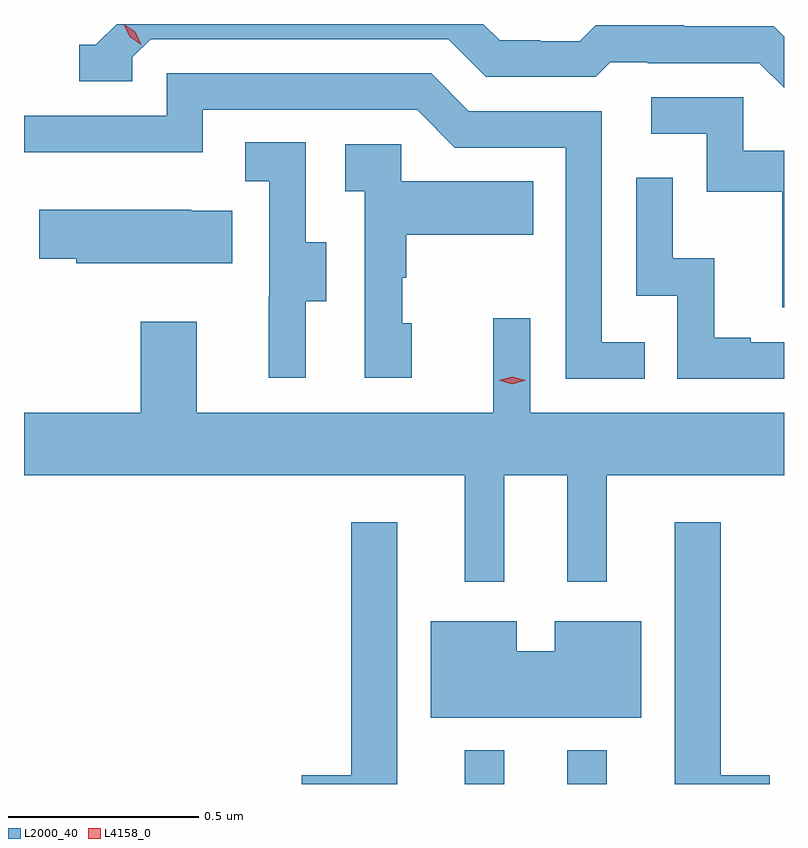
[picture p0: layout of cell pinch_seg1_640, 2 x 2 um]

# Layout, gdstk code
import gdstk
lib = gdstk.Library(unit=1e-6, precision=1e-09)
def R(c, l, rs):  # rectangles x0, y0, x1, y1
    for r in rs: c.add(gdstk.rectangle(r[:2], r[2:], *l))
def P(c, l, *ps):  # polygons
    for p in ps: c.add(gdstk.Polygon(p, *l))
L2000_40 = (2000, 40)
L4158_0 = (4158, 0)

pinch_seg1_640 = lib.new_cell('pinch_seg1_640')
R(pinch_seg1_640, L2000_40, [(1091.975,509.627,1092.079,509.716), (1092.245,509.627,1092.349,509.716)])
P(pinch_seg1_640, L2000_40, [(1092.815,511.594),(1092.788,511.621),(1092.552,511.621),(1092.552,511.624),(1092.319,511.624),(1092.277,511.581),(1092.174,511.581),(1092.174,511.584),(1092.067,511.584),(1092.024,511.627),(1091.059,511.627),(1091.004,511.572),(1090.961,511.572),(1090.961,511.476),(1091.1,511.476),(1091.1,511.539),(1091.148,511.587),(1091.931,511.587),(1092.03,511.488),(1092.319,511.488),(1092.358,511.527),(1092.457,511.527),(1092.457,511.524),(1092.75,511.524),(1092.815,511.459)],
  [(1092.449,510.789),(1092.336,510.789),(1092.336,511.398),(1091.986,511.398),(1091.887,511.497),(1091.19,511.497),(1091.19,511.386),(1090.815,511.386),(1090.815,511.289),(1091.286,511.289),(1091.286,511.401),(1091.85,511.401),(1091.949,511.302),(1092.24,511.302),(1092.24,510.693),(1092.449,510.693)],
  [(1092.815,511.293),(1092.708,511.293),(1092.708,511.434),(1092.465,511.434),(1092.465,511.338),(1092.612,511.338),(1092.612,511.185),(1092.811,511.185),(1092.811,510.882),(1092.815,510.882)],
  [(1091.557,510.898),(1091.611,510.898),(1091.611,511.053),(1091.556,511.053),(1091.556,511.316),(1091.397,511.316),(1091.397,511.213),(1091.46,511.213),(1091.46,510.909),(1091.459,510.909),(1091.459,510.696),(1091.557,510.696)],
  [(1091.836,510.84),(1091.811,510.84),(1091.811,510.959),(1091.821,510.959),(1091.821,511.073),(1092.155,511.073),(1092.155,511.213),(1091.808,511.213),(1091.808,511.311),(1091.661,511.311),(1091.661,511.187),(1091.712,511.187),(1091.712,510.696),(1091.836,510.696)],
  [(1092.815,510.789),(1092.727,510.789),(1092.727,510.802),(1092.632,510.802),(1092.632,511.01),(1092.522,511.01),(1092.522,511.222),(1092.426,511.222),(1092.426,510.912),(1092.534,510.912),(1092.534,510.693),(1092.815,510.693)],
  [(1091.363,511.135),(1091.255,511.135),(1091.255,511.138),(1090.855,511.138),(1090.855,511.009),(1090.953,511.009),(1090.953,510.998),(1091.363,510.998)],
  [(1092.079,510.44),(1092.245,510.44),(1092.245,510.159),(1092.349,510.159),(1092.349,510.44),(1092.815,510.44),(1092.815,510.604),(1092.147,510.604),(1092.147,510.853),(1092.05,510.853),(1092.05,510.604),(1091.269,510.604),(1091.269,510.844),(1091.122,510.844),(1091.122,510.604),(1090.815,510.604),(1090.815,510.44),(1091.975,510.44),(1091.975,510.159),(1092.079,510.159)],
  [(1092.778,509.65),(1092.649,509.65),(1092.649,510.316),(1092.527,510.316),(1092.527,509.627),(1092.778,509.627)],
  [(1091.797,510.316),(1091.676,510.316),(1091.676,509.65),(1091.546,509.65),(1091.546,509.627),(1091.797,509.627)],
  [(1092.439,510.055),(1092.212,510.055),(1092.212,509.977),(1092.112,509.977),(1092.112,510.055),(1091.885,510.055),(1091.885,509.801),(1092.439,509.801)])
P(pinch_seg1_640, L4158_0, [(1092.1,510.679),(1092.064,510.689),(1092.064,510.689),(1092.064,510.689),(1092.1,510.699),(1092.136,510.689),(1092.136,510.689),(1092.136,510.689)],
  [(1091.123,511.573),(1091.093,511.593),(1091.078,511.625),(1091.078,511.626),(1091.078,511.626),(1091.108,511.606),(1091.124,511.573),(1091.124,511.573)])

lib.write_gds('pinch_seg1_640.gds')
